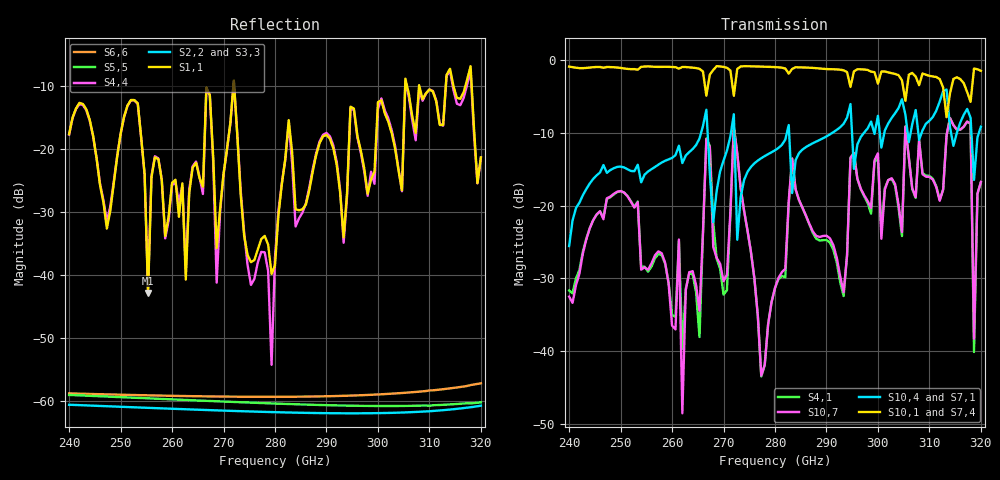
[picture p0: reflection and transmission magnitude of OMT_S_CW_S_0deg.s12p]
! Touchstone file exported from HFSS 2021.1.0
!  File:  D:/ANSYS/HFSS_work/cp_ant/260204_Cir_to_Rect_STEP_v3_fin.aedt
!  Generated:  11:02:27 %xC624%xC804  6 18, 2026
!  Design:  cir_to_rect_OMT_v13_GA7_opt_STEP_exp_QN2_S_CW_S
!  Project:  260204_Cir_to_Rect_STEP_v3_fin
!  Setup:  Setup1
!  Solution:  Sweep
! Variables:
!  diff_ws = 0.0610877997211628mm
!  fil_r = 100um
!  h1 = 0.291824400557674mm
!  h2 = 0.134mm
!  h3 = 0.176mm
!  l1 = 0.527mm
!  l2 = 0.275mm
!  l3 = 0.459mm
!  l4 = 0.313mm
!  l5 = 0.285999999999997mm
!  mov_x = 1mm
!  r_r = 6mm
!  sep_h1 = 0.775824400557674mm
!  sep_h2 = 0.484mm
!  sep_h3 = 0.35mm
!  sep_h4 = 0.174mm
!  sep_l = 1.373mm
!  sep_l1 = 1.9mm
!  sep_l2 = 2.175mm
!  sep_l3 = 2.634mm
!  sep_l4 = 2.947mm
!  sep_ll = 0.2004mm
!  sep_ll2 = 0.2505mm
!  sep_ll3 = 1mm
!  sep_w = 0.137mm
!  tr_l = 1.002mm
!  wc_d = 0.9906mm
!  wc_l = 3.8259mm
!  wg_x = 20mm
!  wr_l = 3.7156mm
!  ws_x = 0.8636mm
!  ws_x1 = 0.898mm
!  ws_x2 = 0.775824400557674mm
!  ws_x3 = 0.898mm
!  ws_y2 = 0.898mm
!  ws_z = 0
!  wsc_l = 2mm
!Data is not renormalized
! Terminal data exported
! Port[1] = rec1:1
! Port[2] = rec1:2
! Port[3] = rec1:3
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# GHz S MA
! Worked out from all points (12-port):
!   121 points, 240 GHz to 320 GHz, reference per port
!   strongest paths, dB at 240 GHz, 260 GHz, 280 GHz, 300 GHz, 320 GHz:
!     S10,1: -0.9, -0.9, -0.9, -3.2, -1.4
!     S7,4: -0.9, -0.9, -0.9, -3.1, -1.4
!     S10,4: -25.5, -13.4, -12.4, -7.6, -9.1
!     S7,1: -25.5, -13.4, -12.4, -8.0, -9.2
!     S10,7: -32.5, -36.5, -31.3, -12.8, -16.7
!     S4,1: -31.7, -35.0, -31.3, -13.6, -16.8
!   lowest |S11| = -42.9 dB at 255.3 GHz (marker M1), VSWR 1.01
!   |S11| at or under -10 dB: start of sweep to 271.9 GHz; 272.1 GHz to 305.3 GHz (33.22 GHz wide, 11.5 % of centre); 308 GHz to 313.2 GHz (5.14 GHz wide, 1.65 % of centre)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
